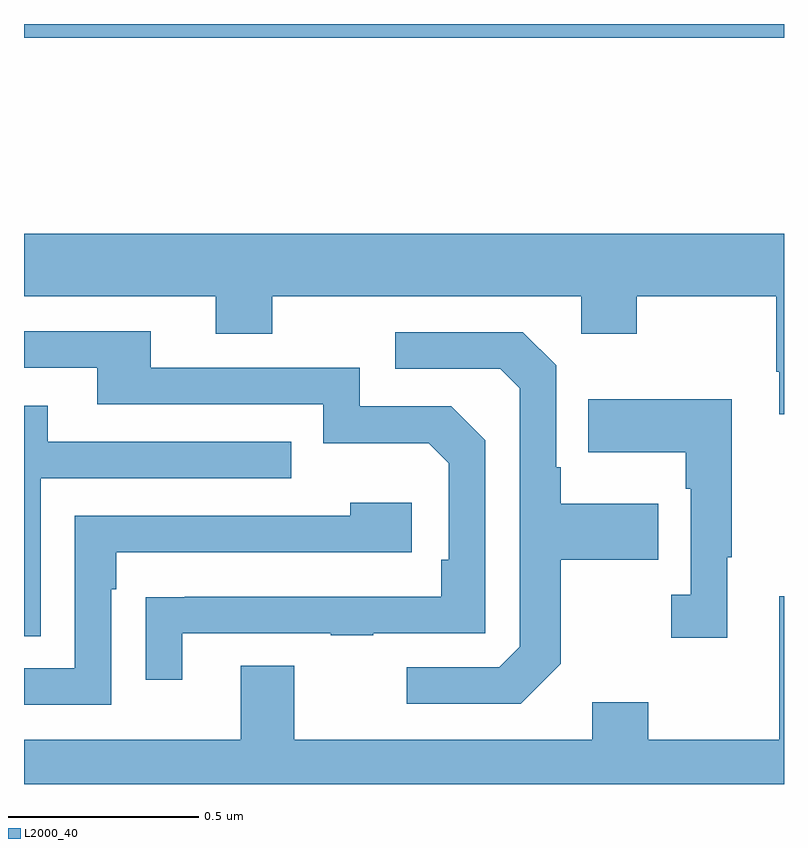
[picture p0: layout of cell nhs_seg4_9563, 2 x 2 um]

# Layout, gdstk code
import gdstk
lib = gdstk.Library(unit=1e-6, precision=1e-09)
def R(c, l, rs):  # rectangles x0, y0, x1, y1
    for r in rs: c.add(gdstk.rectangle(r[:2], r[2:], *l))
def P(c, l, *ps):  # polygons
    for p in ps: c.add(gdstk.Polygon(p, *l))
L2000_40 = (2000, 40)

nhs_seg4_9563 = lib.new_cell('nhs_seg4_9563')
R(nhs_seg4_9563, L2000_40, [(229,766.864,231,766.9)])
P(nhs_seg4_9563, L2000_40, [(229,766.184),(229.505,766.184),(229.505,766.085),(229.653,766.085),(229.653,766.184),(230.466,766.184),(230.466,766.085),(230.613,766.085),(230.613,766.184),(230.98,766.184),(230.98,765.985),(230.987,765.985),(230.987,765.873),(231,765.873),(231,766.348),(229,766.348)],
  [(229.417,765.297),(229.807,765.297),(229.807,765.292),(229.919,765.292),(229.919,765.297),(230.214,765.297),(230.214,765.804),(230.124,765.894),(229.884,765.894),(229.884,765.996),(229.333,765.996),(229.333,766.092),(229,766.092),(229,765.996),(229.193,765.996),(229.193,765.9),(229.788,765.9),(229.788,765.797),(230.065,765.797),(230.118,765.744),(230.118,765.49),(230.098,765.49),(230.098,765.393),(229.423,765.393),(229.423,765.392),(229.321,765.392),(229.321,765.174),(229.417,765.174)],
  [(230.413,765.217),(230.413,765.49),(230.669,765.49),(230.669,765.637),(230.413,765.637),(230.413,765.733),(230.4,765.733),(230.4,766.002),(230.313,766.089),(229.977,766.089),(229.977,765.993),(230.253,765.993),(230.304,765.942),(230.304,765.261),(230.25,765.207),(230.007,765.207),(230.007,765.111),(230.307,765.111)],
  [(230.851,765.497),(230.863,765.497),(230.863,765.913),(230.485,765.913),(230.485,765.773),(230.742,765.773),(230.742,765.677),(230.754,765.677),(230.754,765.398),(230.703,765.398),(230.703,765.285),(230.851,765.285)],
  [(229.044,765.705),(229.703,765.705),(229.703,765.801),(229.063,765.801),(229.063,765.895),(229,765.895),(229,765.289),(229.044,765.289)],
  [(229.23,765.413),(229.243,765.413),(229.243,765.51),(230.02,765.51),(230.02,765.64),(229.859,765.64),(229.859,765.606),(229.134,765.606),(229.134,765.204),(229,765.204),(229,765.108),(229.23,765.108)],
  [(231,765.394),(230.987,765.394),(230.987,765.016),(230.643,765.016),(230.643,765.115),(230.495,765.115),(230.495,765.016),(229.711,765.016),(229.711,765.211),(229.571,765.211),(229.571,765.016),(229,765.016),(229,764.9),(231,764.9)])

lib.write_gds('nhs_seg4_9563.gds')
